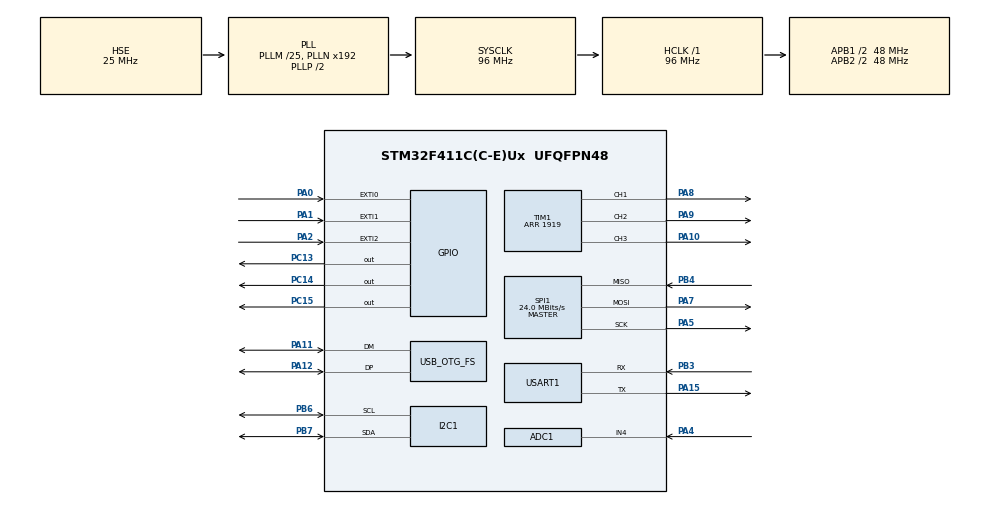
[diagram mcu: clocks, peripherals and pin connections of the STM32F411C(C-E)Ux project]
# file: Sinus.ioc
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ADC1.Channel-0\#ChannelRegularConversion=ADC_CHANNEL_4
ADC1.NbrOfConversionFlag=1
ADC1.Rank-0\#ChannelRegularConversion=1
ADC1.SamplingTime-0\#ChannelRegularConversion=ADC_SAMPLETIME_3CYCLES
ADC1.master=1
I2C1.OwnAddress=0x10
Mcu.Family=STM32F4
Mcu.Name=STM32F411C(C-E)Ux
Mcu.Package=UFQFPN48
NVIC.EXTI0_IRQn=true\:0\:0\:false\:false\:true\:true\:true\:true
NVIC.EXTI1_IRQn=true\:0\:0\:false\:false\:true\:true\:true\:true
NVIC.EXTI2_IRQn=true\:0\:0\:false\:false\:true\:true\:true\:true
NVIC.I2C1_ER_IRQn=true\:0\:0\:false\:false\:true\:true\:true\:true
NVIC.I2C1_EV_IRQn=true\:0\:0\:false\:false\:true\:true\:true\:true
NVIC.OTG_FS_IRQn=true\:0\:0\:false\:false\:true\:false\:true\:true
NVIC.PriorityGroup=NVIC_PRIORITYGROUP_4
NVIC.TIM1_BRK_TIM9_IRQn=true\:0\:0\:false\:false\:true\:true\:true\:true
NVIC.TIM1_UP_TIM10_IRQn=true\:0\:0\:false\:false\:true\:true\:true\:true
PA0-WKUP.Signal=GPXTI0
PA1.Signal=GPXTI1
PA10.Signal=S_TIM1_CH3
PA11.Mode=Device_Only
PA11.Signal=USB_OTG_FS_DM
PA12.Mode=Device_Only
PA12.Signal=USB_OTG_FS_DP
PA13.Mode=Serial_Wire
PA13.Signal=SYS_JTMS-SWDIO
PA14.Mode=Serial_Wire
PA14.Signal=SYS_JTCK-SWCLK
PA15.Mode=Asynchronous
PA15.Signal=USART1_TX
PA2.Signal=GPXTI2
PA4.Signal=ADCx_IN4
PA5.Mode=Full_Duplex_Master
PA5.Signal=SPI1_SCK
PA7.Mode=Full_Duplex_Master
PA7.Signal=SPI1_MOSI
PA8.Signal=S_TIM1_CH1
PA9.Signal=S_TIM1_CH2
PB3.Mode=Asynchronous
PB3.Signal=USART1_RX
PB4.Mode=Full_Duplex_Master
PB4.Signal=SPI1_MISO
PB6.Mode=I2C
PB6.Signal=I2C1_SCL
PB7.Mode=I2C
PB7.Signal=I2C1_SDA
PC13-ANTI_TAMP.Signal=GPIO_Output
PC14-OSC32_IN.Signal=GPIO_Output
PC15-OSC32_OUT.Signal=GPIO_Output
PH0\ -\ OSC_IN.Mode=HSE-External-Oscillator
PH0\ -\ OSC_IN.Signal=RCC_OSC_IN
PH1\ -\ OSC_OUT.Mode=HSE-External-Oscillator
PH1\ -\ OSC_OUT.Signal=RCC_OSC_OUT
ProjectManager.HeapSize=0x200
ProjectManager.StackSize=0x400
ProjectManager.TargetToolchain=STM32CubeIDE
RCC.48MHZClocksFreq_Value=48000000
RCC.AHBFreq_Value=96000000
RCC.APB1CLKDivider=RCC_HCLK_DIV2
RCC.APB1Freq_Value=48000000
RCC.APB1TimFreq_Value=96000000
RCC.APB2CLKDivider=RCC_HCLK_DIV2
RCC.APB2Freq_Value=48000000
RCC.APB2TimFreq_Value=96000000
RCC.CortexFreq_Value=96000000
RCC.HCLKFreq_Value=96000000
RCC.HSE_VALUE=25000000
RCC.HSI_VALUE=16000000
RCC.LSE_VALUE=32768
RCC.PLLM=25
RCC.SYSCLKFreq_VALUE=96000000
RCC.SYSCLKSource=RCC_SYSCLKSOURCE_PLLCLK
RCC.VCOOutputFreq_Value=192000000
SH.ADCx_IN4.0=ADC1_IN4,IN4
SH.S_TIM1_CH1.0=TIM1_CH1,PWM Generation1 CH1
SH.S_TIM1_CH2.0=TIM1_CH2,PWM Generation2 CH2
SH.S_TIM1_CH3.0=TIM1_CH3,PWM Generation3 CH3
SPI1.BaudRatePrescaler=SPI_BAUDRATEPRESCALER_2
SPI1.CalculateBaudRate=24.0 MBits/s
SPI1.Direction=SPI_DIRECTION_2LINES
SPI1.Mode=SPI_MODE_MASTER
SPI1.VirtualType=VM_MASTER
TIM1.Channel-PWM\ Generation1\ CH1=TIM_CHANNEL_1
TIM1.Channel-PWM\ Generation2\ CH2=TIM_CHANNEL_2
TIM1.Channel-PWM\ Generation3\ CH3=TIM_CHANNEL_3
TIM1.Period=1919
TIM10.Channel=TIM_CHANNEL_1
TIM10.Period=1
TIM10.Prescaler=65535
TIM9.Channel-Output\ Compare1\ No\ Output=TIM_CHANNEL_1
TIM9.Period=999
TIM9.Prescaler=1199
USART1.VirtualMode=VM_ASYNC
USB_DEVICE.CLASS_NAME_FS=CDC
USB_DEVICE.VirtualMode=Cdc
USB_DEVICE.VirtualModeFS=Cdc_FS
USB_OTG_FS.VirtualMode=Device_Only
VP_TIM10_VS_ClockSourceINT.Mode=Enable_Timer
VP_TIM10_VS_no_output1.Mode=Output Compare1 No Output
VP_TIM9_VS_no_output1.Mode=Output Compare1 No Output
VP_USB_DEVICE_VS_USB_DEVICE_CDC_FS.Mode=CDC_FS
board=custom

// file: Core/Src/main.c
/* USER CODE BEGIN Header */
/**
  ******************************************************************************
  * @file           : main.c
  * @brief          : Main program body
  ******************************************************************************
  * @attention
  *
  * Copyright (c) 2024 STMicroelectronics.
  * All rights reserved.
  *
  * This software is licensed under terms that can be found in the LICENSE file
  * in the root directory of this software component.
  * If no LICENSE file comes with this software, it is provided AS-IS.
  *
  ******************************************************************************
  */
/* USER CODE END Header */
#include "main.h"
#include "usb_device.h"

ADC_HandleTypeDef hadc1;

I2C_HandleTypeDef hi2c1;

SPI_HandleTypeDef hspi1;

TIM_HandleTypeDef htim1;
TIM_HandleTypeDef htim9;
TIM_HandleTypeDef htim10;

UART_HandleTypeDef huart1;

/* USER CODE BEGIN PV */

uint16_t len = 0;
uint32_t WantedRPM = 100

		, CurrentRPM = 0;
uint16_t count = 0;

uint8_t RxData[RxSize];

double sintab[AANTAL_TIJDSTAPPEN];
char buf[64];

/* USER CODE END PV */

void SystemClock_Config(void);
static void MX_GPIO_Init(void);
static void MX_ADC1_Init(void);
static void MX_SPI1_Init(void);
static void MX_TIM9_Init(void);
static void MX_TIM10_Init(void);
static void MX_USART1_UART_Init(void);
static void MX_I2C1_Init(void);
static void MX_TIM1_Init(void);
/* USER CODE BEGIN PFP */

extern void HAL_I2C_ListenCpltCallback (I2C_HandleTypeDef *hi2c)
{
	HAL_I2C_EnableListen_IT(hi2c);
}

extern void HAL_I2C_AddrCallback(I2C_HandleTypeDef *hi2c, uint8_t TransferDirection, uint16_t AddrMatchCode)
{
	if(TransferDirection == I2C_DIRECTION_TRANSMIT)  // if the master wants to transmit the data
	{
		HAL_I2C_Slave_Sequential_Receive_IT(hi2c, RxData, 6, I2C_FIRST_AND_LAST_FRAME);
		WantedRPM = RxData[0] * 49 + 100;
	}
	else  // master requesting the data is not supported yet
	{
		Error_Handler();
	}
}

void HAL_I2C_SlaveRxCpltCallback(I2C_HandleTypeDef *hi2c)
{
	count++;
}

void HAL_I2C_ErrorCallback(I2C_HandleTypeDef *hi2c)
{
	HAL_I2C_EnableListen_IT(hi2c);
}

extern uint8_t CDC_Transmit_FS(uint8_t* buf, uint16_t len);

/* USER CODE END PFP */

int main(void)
{

  /* MCU Configuration--------------------------------------------------------*/

  /* Reset of all peripherals, Initializes the Flash interface and the Systick. */
  HAL_Init();

  /* Configure the system clock */
  SystemClock_Config();

  /* Initialize all configured peripherals */
  MX_GPIO_Init();
  MX_ADC1_Init();
  MX_SPI1_Init();
  MX_TIM9_Init();
  MX_TIM10_Init();
  MX_USART1_UART_Init();
  MX_USB_DEVICE_Init();
  MX_I2C1_Init();
  MX_TIM1_Init();
  /* USER CODE BEGIN 2 */

    HAL_I2C_EnableListen_IT(&hi2c1);

    // Activate necessary timers.
  	HAL_TIM_OC_Start(&htim9, TIM_CHANNEL_1);
  	HAL_TIM_OC_Start(&htim10, TIM_CHANNEL_1);
  	HAL_TIM_PWM_Start(&htim1, TIM_CHANNEL_1);
  	HAL_TIM_PWM_Start(&htim1, TIM_CHANNEL_2);
  	HAL_TIM_PWM_Start(&htim1, TIM_CHANNEL_3);

  	// Start Interrupts
  	HAL_TIM_Base_Start_IT(&htim9);
  	HAL_TIM_Base_Start_IT(&htim10);

  	// Fill sintab array
	for (int i = 0; i < AANTAL_TIJDSTAPPEN; i++) {
		sintab[i] = sin(i*2*M_PI/AANTAL_TIJDSTAPPEN) * 0.5 + 0.5;
	}

	// Enable Gate Drivers.
	GPIOC->ODR = 0xE000;

  /* USER CODE END 2 */

  /* Infinite loop */
  /* USER CODE BEGIN WHILE */
  while (1)
  {

	/*
	// Read Potentiometer data from ADC for RPM control.
	HAL_ADC_Start(&hadc1);
	HAL_ADC_PollForConversion(&hadc1, HAL_MAX_DELAY);
	WantedRPM = HAL_ADC_GetValue(&hadc1);
	*/

	// Keep RPM to the minimum set in main.h.
	if (WantedRPM < MinimumRPM) {
		WantedRPM = MinimumRPM;
	}

	// Set PSC to appropriate value for RPM
	TIM10->PSC = (15 * Fapb2clk) / (256 * WantedRPM) - 1;

	// Send RPM data to PC
	len = snprintf(buf, sizeof(buf), "\n\rWanted RPM / Current RPM: %lu / %lu", WantedRPM, CurrentRPM);
	CDC_Transmit_FS((uint8_t *) buf, len);
	HAL_Delay(10);

    /* USER CODE END WHILE */

  }
}

void SystemClock_Config(void)
{
  RCC_OscInitTypeDef RCC_OscInitStruct = {0};
  RCC_ClkInitTypeDef RCC_ClkInitStruct = {0};

  /** Configure the main internal regulator output voltage
  */
  __HAL_RCC_PWR_CLK_ENABLE();
  __HAL_PWR_VOLTAGESCALING_CONFIG(PWR_REGULATOR_VOLTAGE_SCALE1);

  /** Initializes the RCC Oscillators according to the specified parameters
  * in the RCC_OscInitTypeDef structure.
  */
  RCC_OscInitStruct.OscillatorType = RCC_OSCILLATORTYPE_HSE;
  RCC_OscInitStruct.HSEState = RCC_HSE_ON;
  RCC_OscInitStruct.PLL.PLLState = RCC_PLL_ON;
  RCC_OscInitStruct.PLL.PLLSource = RCC_PLLSOURCE_HSE;
  RCC_OscInitStruct.PLL.PLLM = 25;
  RCC_OscInitStruct.PLL.PLLN = 192;
  RCC_OscInitStruct.PLL.PLLP = RCC_PLLP_DIV2;
  RCC_OscInitStruct.PLL.PLLQ = 4;
  if (HAL_RCC_OscConfig(&RCC_OscInitStruct) != HAL_OK)
  {
    Error_Handler();
  }

  /** Initializes the CPU, AHB and APB buses clocks
  */
  RCC_ClkInitStruct.ClockType = RCC_CLOCKTYPE_HCLK|RCC_CLOCKTYPE_SYSCLK
                              |RCC_CLOCKTYPE_PCLK1|RCC_CLOCKTYPE_PCLK2;
  RCC_ClkInitStruct.SYSCLKSource = RCC_SYSCLKSOURCE_PLLCLK;
  RCC_ClkInitStruct.AHBCLKDivider = RCC_SYSCLK_DIV1;
  RCC_ClkInitStruct.APB1CLKDivider = RCC_HCLK_DIV2;
  RCC_ClkInitStruct.APB2CLKDivider = RCC_HCLK_DIV2;

  if (HAL_RCC_ClockConfig(&RCC_ClkInitStruct, FLASH_LATENCY_3) != HAL_OK)
  {
    Error_Handler();
  }
}

static void MX_ADC1_Init(void)
{

  ADC_ChannelConfTypeDef sConfig = {0};

  /** Configure the global features of the ADC (Clock, Resolution, Data Alignment and number of conversion)
  */
  hadc1.Instance = ADC1;
  hadc1.Init.ClockPrescaler = ADC_CLOCK_SYNC_PCLK_DIV2;
  hadc1.Init.Resolution = ADC_RESOLUTION_12B;
  hadc1.Init.ScanConvMode = DISABLE;
  hadc1.Init.ContinuousConvMode = DISABLE;
  hadc1.Init.DiscontinuousConvMode = DISABLE;
  hadc1.Init.ExternalTrigConvEdge = ADC_EXTERNALTRIGCONVEDGE_NONE;
  hadc1.Init.ExternalTrigConv = ADC_SOFTWARE_START;
  hadc1.Init.DataAlign = ADC_DATAALIGN_RIGHT;
  hadc1.Init.NbrOfConversion = 1;
  hadc1.Init.DMAContinuousRequests = DISABLE;
  hadc1.Init.EOCSelection = ADC_EOC_SINGLE_CONV;
  if (HAL_ADC_Init(&hadc1) != HAL_OK)
  {
    Error_Handler();
  }

  /** Configure for the selected ADC regular channel its corresponding rank in the sequencer and its sample time.
  */
  sConfig.Channel = ADC_CHANNEL_4;
  sConfig.Rank = 1;
  sConfig.SamplingTime = ADC_SAMPLETIME_3CYCLES;
  if (HAL_ADC_ConfigChannel(&hadc1, &sConfig) != HAL_OK)
  {
    Error_Handler();
  }

}

static void MX_I2C1_Init(void)
{

  hi2c1.Instance = I2C1;
  hi2c1.Init.ClockSpeed = 100000;
  hi2c1.Init.DutyCycle = I2C_DUTYCYCLE_2;
  hi2c1.Init.OwnAddress1 = 32;
  hi2c1.Init.AddressingMode = I2C_ADDRESSINGMODE_7BIT;
  hi2c1.Init.DualAddressMode = I2C_DUALADDRESS_DISABLE;
  hi2c1.Init.OwnAddress2 = 0;
  hi2c1.Init.GeneralCallMode = I2C_GENERALCALL_DISABLE;
  hi2c1.Init.NoStretchMode = I2C_NOSTRETCH_DISABLE;
  if (HAL_I2C_Init(&hi2c1) != HAL_OK)
  {
    Error_Handler();
  }

}

static void MX_SPI1_Init(void)
{

  /* SPI1 parameter configuration*/
  hspi1.Instance = SPI1;
  hspi1.Init.Mode = SPI_MODE_MASTER;
  hspi1.Init.Direction = SPI_DIRECTION_2LINES;
  hspi1.Init.DataSize = SPI_DATASIZE_8BIT;
  hspi1.Init.CLKPolarity = SPI_POLARITY_LOW;
  hspi1.Init.CLKPhase = SPI_PHASE_1EDGE;
  hspi1.Init.NSS = SPI_NSS_SOFT;
  hspi1.Init.BaudRatePrescaler = SPI_BAUDRATEPRESCALER_2;
  hspi1.Init.FirstBit = SPI_FIRSTBIT_MSB;
  hspi1.Init.TIMode = SPI_TIMODE_DISABLE;
  hspi1.Init.CRCCalculation = SPI_CRCCALCULATION_DISABLE;
  hspi1.Init.CRCPolynomial = 10;
  if (HAL_SPI_Init(&hspi1) != HAL_OK)
  {
    Error_Handler();
  }

}

static void MX_TIM1_Init(void)
{

  TIM_MasterConfigTypeDef sMasterConfig = {0};
  TIM_OC_InitTypeDef sConfigOC = {0};
  TIM_BreakDeadTimeConfigTypeDef sBreakDeadTimeConfig = {0};

  htim1.Instance = TIM1;
  htim1.Init.Prescaler = 0;
  htim1.Init.CounterMode = TIM_COUNTERMODE_UP;
  htim1.Init.Period = 1919;
  htim1.Init.ClockDivision = TIM_CLOCKDIVISION_DIV1;
  htim1.Init.RepetitionCounter = 0;
  htim1.Init.AutoReloadPreload = TIM_AUTORELOAD_PRELOAD_DISABLE;
  if (HAL_TIM_PWM_Init(&htim1) != HAL_OK)
  {
    Error_Handler();
  }
  sMasterConfig.MasterOutputTrigger = TIM_TRGO_RESET;
  sMasterConfig.MasterSlaveMode = TIM_MASTERSLAVEMODE_DISABLE;
  if (HAL_TIMEx_MasterConfigSynchronization(&htim1, &sMasterConfig) != HAL_OK)
  {
    Error_Handler();
  }
  sConfigOC.OCMode = TIM_OCMODE_PWM1;
  sConfigOC.Pulse = 0;
  sConfigOC.OCPolarity = TIM_OCPOLARITY_HIGH;
  sConfigOC.OCNPolarity = TIM_OCNPOLARITY_HIGH;
  sConfigOC.OCFastMode = TIM_OCFAST_DISABLE;
  sConfigOC.OCIdleState = TIM_OCIDLESTATE_RESET;
  sConfigOC.OCNIdleState = TIM_OCNIDLESTATE_RESET;
  if (HAL_TIM_PWM_ConfigChannel(&htim1, &sConfigOC, TIM_CHANNEL_1) != HAL_OK)
  {
    Error_Handler();
  }
  if (HAL_TIM_PWM_ConfigChannel(&htim1, &sConfigOC, TIM_CHANNEL_2) != HAL_OK)
  {
    Error_Handler();
  }
  if (HAL_TIM_PWM_ConfigChannel(&htim1, &sConfigOC, TIM_CHANNEL_3) != HAL_OK)
  {
    Error_Handler();
  }
  sBreakDeadTimeConfig.OffStateRunMode = TIM_OSSR_DISABLE;
  sBreakDeadTimeConfig.OffStateIDLEMode = TIM_OSSI_DISABLE;
  sBreakDeadTimeConfig.LockLevel = TIM_LOCKLEVEL_OFF;
  sBreakDeadTimeConfig.DeadTime = 0;
  sBreakDeadTimeConfig.BreakState = TIM_BREAK_DISABLE;
  sBreakDeadTimeConfig.BreakPolarity = TIM_BREAKPOLARITY_HIGH;
  sBreakDeadTimeConfig.AutomaticOutput = TIM_AUTOMATICOUTPUT_DISABLE;
  if (HAL_TIMEx_ConfigBreakDeadTime(&htim1, &sBreakDeadTimeConfig) != HAL_OK)
  {
    Error_Handler();
  }
  HAL_TIM_MspPostInit(&htim1);

}

static void MX_TIM9_Init(void)
{

  TIM_OC_InitTypeDef sConfigOC = {0};

  htim9.Instance = TIM9;
  htim9.Init.Prescaler = 1199;
  htim9.Init.CounterMode = TIM_COUNTERMODE_UP;
  htim9.Init.Period = 999;
  htim9.Init.ClockDivision = TIM_CLOCKDIVISION_DIV1;
  htim9.Init.AutoReloadPreload = TIM_AUTORELOAD_PRELOAD_DISABLE;
  if (HAL_TIM_OC_Init(&htim9) != HAL_OK)
  {
    Error_Handler();
  }
  sConfigOC.OCMode = TIM_OCMODE_TIMING;
  sConfigOC.Pulse = 0;
  sConfigOC.OCPolarity = TIM_OCPOLARITY_HIGH;
  sConfigOC.OCFastMode = TIM_OCFAST_DISABLE;
  if (HAL_TIM_OC_ConfigChannel(&htim9, &sConfigOC, TIM_CHANNEL_1) != HAL_OK)
  {
    Error_Handler();
  }

}

static void MX_TIM10_Init(void)
{

  TIM_OC_InitTypeDef sConfigOC = {0};

  htim10.Instance = TIM10;
  htim10.Init.Prescaler = 65535;
  htim10.Init.CounterMode = TIM_COUNTERMODE_UP;
  htim10.Init.Period = 1;
  htim10.Init.ClockDivision = TIM_CLOCKDIVISION_DIV1;
  htim10.Init.AutoReloadPreload = TIM_AUTORELOAD_PRELOAD_DISABLE;
  if (HAL_TIM_Base_Init(&htim10) != HAL_OK)
  {
    Error_Handler();
  }
  if (HAL_TIM_OC_Init(&htim10) != HAL_OK)
  {
    Error_Handler();
  }
  sConfigOC.OCMode = TIM_OCMODE_TIMING;
  sConfigOC.Pulse = 0;
  sConfigOC.OCPolarity = TIM_OCPOLARITY_HIGH;
  sConfigOC.OCFastMode = TIM_OCFAST_DISABLE;
  if (HAL_TIM_OC_ConfigChannel(&htim10, &sConfigOC, TIM_CHANNEL_1) != HAL_OK)
  {
    Error_Handler();
  }

}

static void MX_USART1_UART_Init(void)
{

  huart1.Instance = USART1;
  huart1.Init.BaudRate = 115200;
  huart1.Init.WordLength = UART_WORDLENGTH_8B;
  huart1.Init.StopBits = UART_STOPBITS_1;
  huart1.Init.Parity = UART_PARITY_NONE;
  huart1.Init.Mode = UART_MODE_TX_RX;
  huart1.Init.HwFlowCtl = UART_HWCONTROL_NONE;
  huart1.Init.OverSampling = UART_OVERSAMPLING_16;
  if (HAL_UART_Init(&huart1) != HAL_OK)
  {
    Error_Handler();
  }

}

static void MX_GPIO_Init(void)
{
  GPIO_InitTypeDef GPIO_InitStruct = {0};

  /* GPIO Ports Clock Enable */
  __HAL_RCC_GPIOC_CLK_ENABLE();
  __HAL_RCC_GPIOH_CLK_ENABLE();
  __HAL_RCC_GPIOA_CLK_ENABLE();
  __HAL_RCC_GPIOB_CLK_ENABLE();

  /*Configure GPIO pin Output Level */
  HAL_GPIO_WritePin(GPIOC, GPIO_PIN_13|GPIO_PIN_14|GPIO_PIN_15, GPIO_PIN_RESET);

  /*Configure GPIO pins : PC13 PC14 PC15 */
  GPIO_InitStruct.Pin = GPIO_PIN_13|GPIO_PIN_14|GPIO_PIN_15;
  GPIO_InitStruct.Mode = GPIO_MODE_OUTPUT_PP;
  GPIO_InitStruct.Pull = GPIO_NOPULL;
  GPIO_InitStruct.Speed = GPIO_SPEED_FREQ_LOW;
  HAL_GPIO_Init(GPIOC, &GPIO_InitStruct);

  /*Configure GPIO pins : PA0 PA1 PA2 */
  GPIO_InitStruct.Pin = GPIO_PIN_0|GPIO_PIN_1|GPIO_PIN_2;
  GPIO_InitStruct.Mode = GPIO_MODE_IT_RISING;
  GPIO_InitStruct.Pull = GPIO_NOPULL;
  HAL_GPIO_Init(GPIOA, &GPIO_InitStruct);

  /* EXTI interrupt init*/
  HAL_NVIC_SetPriority(EXTI0_IRQn, 0, 0);
  HAL_NVIC_EnableIRQ(EXTI0_IRQn);

  HAL_NVIC_SetPriority(EXTI1_IRQn, 0, 0);
  HAL_NVIC_EnableIRQ(EXTI1_IRQn);

  HAL_NVIC_SetPriority(EXTI2_IRQn, 0, 0);
  HAL_NVIC_EnableIRQ(EXTI2_IRQn);

}

void Error_Handler(void)
{
  __disable_irq();
  while (1)
  {
  }
}
